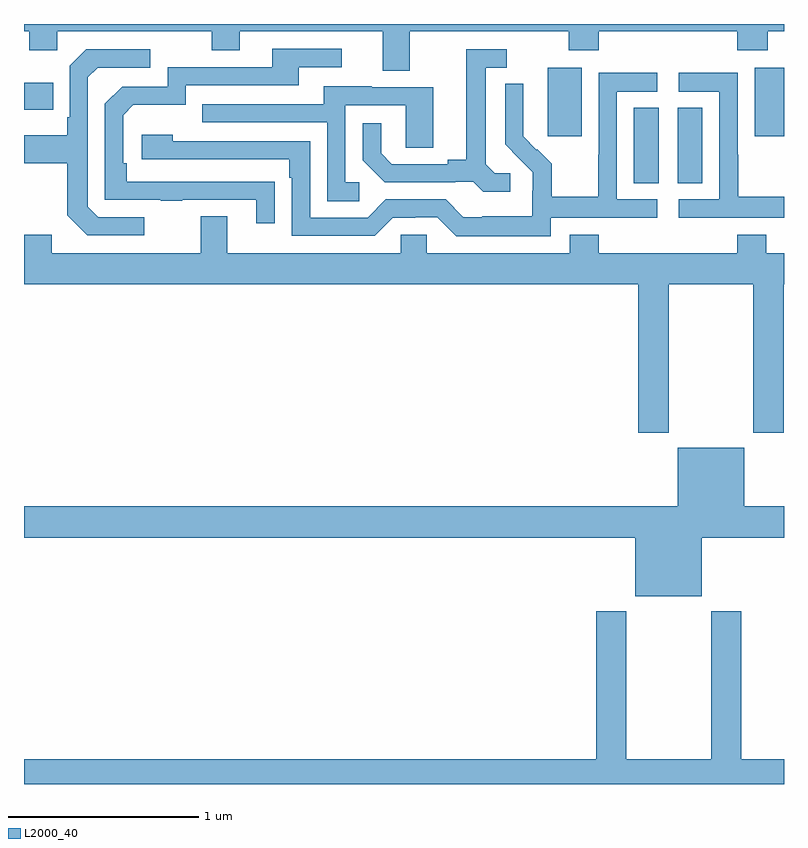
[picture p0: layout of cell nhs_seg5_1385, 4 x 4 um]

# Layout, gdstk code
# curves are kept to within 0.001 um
import gdstk
lib = gdstk.Library(unit=1e-6, precision=1e-09)
def R(c, l, rs):  # rectangles x0, y0, x1, y1
    for r in rs: c.add(gdstk.rectangle(r[:2], r[2:], *l))
def P(c, l, *ps):  # polygons
    for p in ps: c.add(gdstk.Polygon(p, *l))
L2000_40 = (2000, 40)

nhs_seg5_1385 = lib.new_cell('nhs_seg5_1385')
R(nhs_seg5_1385, L2000_40, [(198.209,855.961,198.34,856.358), (198.44,855.961,198.571,856.358), (197.756,856.209,197.935,856.57), (198.845,856.209,199,856.57), (195,856.349,195.155,856.489)])
P(nhs_seg5_1385, L2000_40, [(197.029,856.76),(197.866,856.76),(197.866,856.661),(198.026,856.661),(198.026,856.76),(198.755,856.76),(198.755,856.661),(198.915,856.661),(198.915,856.76),(199,856.76),(199,856.799),(195,856.799),(195,856.76),(195.028,856.76),(195.028,856.661),(195.174,856.661),(195.174,856.76),(195.988,856.76),(195.988,856.661),(196.135,856.661),(196.135,856.76),(196.889,856.76),(196.889,856.552),(197.029,856.552)],
  [(196.319,855.968),(195.542,855.969),(195.542,856.066),(195.522,856.066),(195.522,856.32),(195.575,856.373),(195.852,856.373),(195.852,856.476),(196.447,856.476),(196.447,856.572),(196.672,856.572),(196.672,856.668),(196.307,856.668),(196.307,856.572),(195.756,856.572),(195.756,856.47),(195.516,856.47),(195.426,856.38),(195.426,855.873),(195.721,855.873),(195.721,855.868),(195.833,855.868),(195.833,855.873),(196.223,855.873),(196.223,855.75),(196.319,855.75)],
  [(197.56,856.014),(197.478,856.014),(197.431,856.061),(197.431,856.569),(197.542,856.569),(197.542,856.665),(197.327,856.665),(197.327,856.085),(197.231,856.085),(197.231,856.062),(196.936,856.062),(196.879,856.119),(196.879,856.276),(196.782,856.276),(196.782,856.082),(196.898,855.966),(197.27,855.966),(197.27,855.969),(197.364,855.969),(197.416,855.917),(197.56,855.917)],
  [(195.634,855.783),(195.39,855.783),(195.336,855.837),(195.336,856.518),(195.387,856.569),(195.664,856.569),(195.664,856.665),(195.327,856.665),(195.24,856.578),(195.24,856.309),(195.228,856.309),(195.228,856.213),(195,856.213),(195,856.066),(195.228,856.066),(195.228,855.793),(195.333,855.687),(195.634,855.687)],
  [(197.772,855.78),(198.334,855.78),(198.334,855.876),(198.12,855.876),(198.12,856.443),(198.334,856.443),(198.334,856.542),(198.024,856.542),(198.024,856.112),(198.022,856.112),(198.022,855.889),(197.777,855.889),(197.777,856.063),(197.7,856.14),(197.697,856.137),(197.627,856.208),(197.628,856.484),(197.532,856.484),(197.532,856.166),(197.678,856.018),(197.678,855.921),(197.676,855.921),(197.676,855.787),(197.413,855.787),(197.413,855.783),(197.313,855.783),(197.22,855.876),(196.905,855.876),(196.809,855.78),(196.506,855.78),(196.506,856.182),(195.782,856.182),(195.782,856.216),(195.621,856.216),(195.621,856.086),(196.397,856.086),(196.397,855.989),(196.41,855.989),(196.41,855.684),(196.845,855.684),(196.941,855.78),(197.06,855.78),(197.06,855.783),(197.175,855.783),(197.275,855.683),(197.772,855.683)],
  [(199,855.889),(198.759,855.889),(198.759,856.112),(198.756,856.112),(198.756,856.542),(198.447,856.542),(198.447,856.443),(198.66,856.443),(198.66,855.876),(198.447,855.876),(198.447,855.78),(199,855.78)],
  [(196.765,855.966),(196.692,855.966),(196.692,856.371),(197.01,856.371),(197.01,856.147),(197.155,856.147),(197.155,856.467),(196.831,856.467),(196.831,856.471),(196.577,856.471),(196.577,856.377),(195.937,856.377),(195.937,856.281),(196.596,856.281),(196.596,855.865),(196.765,855.865)],
  [(198.393,855.428),(198.838,855.428),(198.838,854.649),(198.998,854.649),(198.998,855.428),(199,855.428),(199,855.592),(198.907,855.592),(198.907,855.691),(198.755,855.691),(198.755,855.592),(198.026,855.592),(198.026,855.691),(197.873,855.691),(197.873,855.592),(197.121,855.592),(197.121,855.69),(196.983,855.69),(196.983,855.592),(196.069,855.592),(196.069,855.787),(195.929,855.787),(195.929,855.592),(195.145,855.592),(195.145,855.691),(195,855.691),(195,855.428),(198.233,855.428),(198.233,854.649),(198.393,854.649)],
  [(198.568,854.096),(199,854.096),(199,854.26),(198.79,854.26),(198.79,854.569),(198.44,854.569),(198.44,854.26),(195,854.26),(195,854.096),(198.218,854.096),(198.218,853.787),(198.568,853.787)],
  [(199,852.928),(198.776,852.928),(198.776,853.708),(198.616,853.708),(198.616,852.928),(198.171,852.928),(198.171,853.708),(198.011,853.708),(198.011,852.928),(195,852.928),(195,852.799),(199,852.799)])

lib.write_gds('nhs_seg5_1385.gds')
